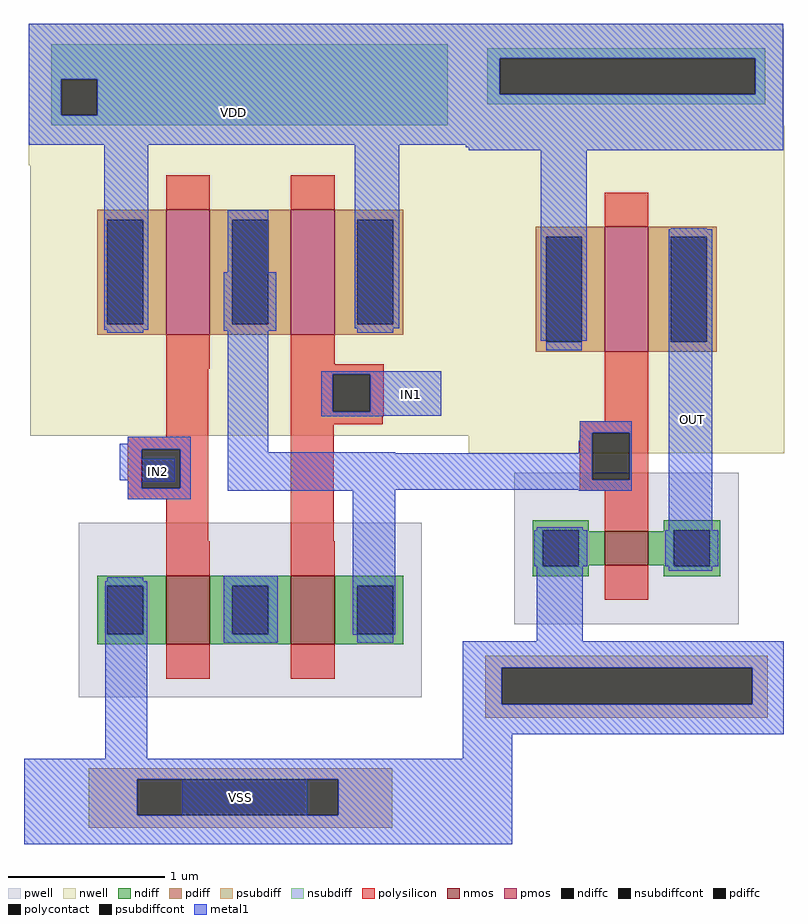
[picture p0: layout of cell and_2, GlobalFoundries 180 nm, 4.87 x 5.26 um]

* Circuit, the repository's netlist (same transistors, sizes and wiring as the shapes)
** sch_path: /home/shahid/GF180Projects/Divider/Xschem/and_2.sch
**.subckt and_2 IN2 IN1 VSS VDD OUT
*.ipin IN2
*.ipin IN1
*.iopin VSS
*.iopin VDD
*.opin OUT
XM7 OUT net1 VDD VDD pfet_03v3 L=0.28u W=0.8u nf=1 ad='int((nf+1)/2) * W/nf * 0.18u' as='int((nf+2)/2) * W/nf * 0.18u'
+ pd='2*int((nf+1)/2) * (W/nf + 0.18u)' ps='2*int((nf+2)/2) * (W/nf + 0.18u)' nrd='0.18u / W' nrs='0.18u / W'
+ sa=0 sb=0 sd=0 m=1
XM6 OUT net1 VSS VSS nfet_03v3 L=0.28u W=0.22u nf=1 ad='int((nf+1)/2) * W/nf * 0.18u' as='int((nf+2)/2) * W/nf * 0.18u'
+ pd='2*int((nf+1)/2) * (W/nf + 0.18u)' ps='2*int((nf+2)/2) * (W/nf + 0.18u)' nrd='0.18u / W' nrs='0.18u / W'
+ sa=0 sb=0 sd=0 m=1
XM1 net1 IN2 VDD VDD pfet_03v3 L=0.28u W=0.8u nf=1 ad='int((nf+1)/2) * W/nf * 0.18u' as='int((nf+2)/2) * W/nf * 0.18u'
+ pd='2*int((nf+1)/2) * (W/nf + 0.18u)' ps='2*int((nf+2)/2) * (W/nf + 0.18u)' nrd='0.18u / W' nrs='0.18u / W'
+ sa=0 sb=0 sd=0 m=1
XM2 net1 IN1 VDD VDD pfet_03v3 L=0.28u W=0.8u nf=1 ad='int((nf+1)/2) * W/nf * 0.18u' as='int((nf+2)/2) * W/nf * 0.18u'
+ pd='2*int((nf+1)/2) * (W/nf + 0.18u)' ps='2*int((nf+2)/2) * (W/nf + 0.18u)' nrd='0.18u / W' nrs='0.18u / W'
+ sa=0 sb=0 sd=0 m=1
XM3 net1 IN1 net2 VSS nfet_03v3 L=0.28u W=0.22u nf=1 ad='int((nf+1)/2) * W/nf * 0.18u' as='int((nf+2)/2) * W/nf * 0.18u'
+ pd='2*int((nf+1)/2) * (W/nf + 0.18u)' ps='2*int((nf+2)/2) * (W/nf + 0.18u)' nrd='0.18u / W' nrs='0.18u / W'
+ sa=0 sb=0 sd=0 m=2
XM4 net2 IN2 VSS VSS nfet_03v3 L=0.28u W=0.22u nf=1 ad='int((nf+1)/2) * W/nf * 0.18u' as='int((nf+2)/2) * W/nf * 0.18u'
+ pd='2*int((nf+1)/2) * (W/nf + 0.18u)' ps='2*int((nf+2)/2) * (W/nf + 0.18u)' nrd='0.18u / W' nrs='0.18u / W'
+ sa=0 sb=0 sd=0 m=2
**.ends
.end

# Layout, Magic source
magic
tech gf180mcuC
magscale 1 10
<< nwell >>
rect 823 1889 833 2007
<< metal1 >>
rect 430 1910 630 1970
rect 823 1889 833 2007
rect 730 1560 780 1590
rect 1090 1500 1130 1580
rect 400 1460 450 1490
rect 727 1450 984 1497
rect 819 1159 828 1256
rect 460 1020 620 1080
rect 819 996 883 1159
use nand2  nand2_0
transform 1 0 327 0 1 1184
box -70 -188 502 863
use nverterlayout  nverterlayout_0
transform 1 0 915 0 1 917
box -88 220 316 1130
<< labels >>
flabel metal1 535 1056 535 1056 0 FreeSans 480 0 0 0 VSS
port 0 nsew
flabel metal1 525 1933 525 1933 0 FreeSans 480 0 0 0 VDD
port 1 nsew
flabel metal1 429 1474 429 1474 0 FreeSans 480 0 0 0 IN2
port 2 nsew
flabel metal1 1114 1540 1114 1540 0 FreeSans 480 0 0 0 OUT
port 4 nsew
flabel metal1 753 1572 753 1572 0 FreeSans 480 0 0 0 IN1
port 5 nsew
<< end >>

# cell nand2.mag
magic
tech gf180mcuC
magscale 1 10
<< nwell >>
rect -64 708 500 863
rect -64 682 32 708
rect 33 682 500 708
rect 191 384 243 624
<< psubdiff >>
rect 13 -105 402 -91
rect 13 -151 75 -105
rect 333 -151 402 -105
rect 13 -167 402 -151
<< nsubdiff >>
rect -35 792 473 837
rect -35 746 -22 792
rect 24 746 473 792
rect -35 733 473 746
<< psubdiffcont >>
rect 75 -151 333 -105
<< nsubdiffcont >>
rect -22 746 24 792
<< polysilicon >>
rect 311 421 391 427
rect 112 334 166 421
rect 63 318 166 334
rect 63 268 81 318
rect 130 268 166 318
rect 63 254 166 268
rect 112 200 166 254
rect 272 414 391 421
rect 272 366 326 414
rect 374 366 391 414
rect 272 360 391 366
rect 272 350 390 360
rect 272 200 327 350
<< polycontact >>
rect 81 268 130 318
rect 326 366 374 414
<< metal1 >>
rect -64 817 500 863
rect -64 792 499 817
rect -64 746 -22 792
rect 24 746 499 792
rect -64 708 499 746
rect 33 471 89 708
rect 191 545 243 624
rect 186 470 253 545
rect 354 473 411 708
rect 63 325 144 334
rect 53 318 144 325
rect 53 278 81 318
rect 63 268 81 278
rect 130 268 144 318
rect 63 254 144 268
rect 191 314 243 470
rect 311 414 465 418
rect 311 366 326 414
rect 374 366 465 414
rect 311 361 465 366
rect 311 360 391 361
rect 191 265 406 314
rect 34 -79 88 149
rect 186 70 255 156
rect 351 80 406 265
rect -70 -105 493 -79
rect -70 -151 75 -105
rect 333 -151 493 -105
rect -70 -188 493 -151
use nmos_3p3_5QNVWA  nmos_3p3_5QNVWA_0
transform 1 0 140 0 1 112
box -140 -112 140 112
use nmos_3p3_5QNVWA  nmos_3p3_5QNVWA_1
transform 1 0 300 0 1 112
box -140 -112 140 112
use pmos_3p3_M8SWPS  pmos_3p3_M8SWPS_0
transform 1 0 300 0 1 545
box -202 -210 202 210
use pmos_3p3_M8SWPS  pmos_3p3_M8SWPS_1
transform 1 0 140 0 1 545
box -202 -210 202 210
<< labels >>
flabel polycontact 101 293 101 293 0 FreeSans 480 0 0 0 IN2
port 1 nsew
flabel metal1 425 394 425 394 0 FreeSans 480 0 0 0 IN1
port 2 nsew
flabel metal1 374 282 374 282 0 FreeSans 480 0 0 0 OUT
port 3 nsew
flabel psubdiffcont 204 -128 204 -128 0 FreeSans 480 0 0 0 VSS
port 4 nsew
flabel nsubdiffcont 425 785 425 785 0 FreeSans 640 0 0 0 VDD
port 5 nsew
<< end >>

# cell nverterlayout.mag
magic
tech gf180mcuC
magscale 1 10
<< nwell >>
rect -88 1124 315 1130
rect -88 1000 316 1124
rect -88 968 315 1000
rect 4 724 63 960
rect 64 612 121 621
<< pwell >>
rect 64 534 121 540
rect 54 532 121 534
<< psubdiff >>
rect -67 305 295 320
rect -67 258 -46 305
rect 275 258 295 305
rect -67 241 295 258
<< nsubdiff >>
rect -64 1086 292 1099
rect -64 1040 -48 1086
rect 279 1040 292 1086
rect -64 1027 292 1040
<< psubdiffcont >>
rect -46 258 275 305
<< nsubdiffcont >>
rect -48 1040 279 1086
<< polysilicon >>
rect 86 621 142 672
rect 54 606 142 621
rect 54 546 70 606
rect 118 546 142 606
rect 54 532 142 546
rect 86 524 142 532
<< polycontact >>
rect 70 546 118 606
<< metal1 >>
rect -88 1086 315 1130
rect -88 1040 -48 1086
rect 279 1040 315 1086
rect -88 968 315 1040
rect 4 724 63 968
rect 54 606 121 621
rect 54 596 70 606
rect 53 546 70 596
rect 118 546 121 606
rect 53 532 121 546
rect -1 339 58 485
rect 168 429 224 867
rect -88 305 316 339
rect -88 258 -46 305
rect 275 258 316 305
rect -88 220 316 258
use nmos_3p3_DDNVWA  nmos_3p3_DDNVWA_0
transform 1 0 114 0 1 458
box -144 -97 144 97
use pmos_3p3_MQGBLR  pmos_3p3_MQGBLR_0
transform 1 0 114 0 1 790
box -202 -210 202 210
<< labels >>
flabel nsubdiffcont 116 1065 116 1065 0 FreeSans 480 0 0 0 VDD
port 0 nsew
flabel psubdiffcont 113 283 113 283 0 FreeSans 480 0 0 0 VSS
port 1 nsew
flabel metal1 194 631 194 631 0 FreeSans 480 0 0 0 OUT
port 2 nsew
flabel polycontact 92 575 92 575 0 FreeSans 480 0 0 0 IN
port 3 nsew
<< end >>

# cell nmos_3p3_DDNVWA: kit device nmos_3p3, w 0.220 l 0.280 m 1 nf 1 diffcov 100 polycov 100 guard 0 glc 0 grc 0 gtc 0 gbc 0 tbcov 100 rlcov 100 topc 0 botc 0 poverlap 0 doverlap 1 lmin 0.28 wmin 0.22 full_metal 0 compatible {nmos_3p3 nmos_6p0 nmos_6p0_nat}

# cell pmos_3p3_MQGBLR: kit device pmos_3p3, w 0.8 l 0.280 m 1 nf 1 diffcov 100 polycov 100 guard 0 glc 0 grc 0 gtc 0 gbc 0 tbcov 100 rlcov 100 topc 0 botc 0 poverlap 0 doverlap 1 lmin 0.28 wmin 0.22 full_metal 0 compatible {pmos_3p3 pmos_6p0}

# cell nmos_3p3_5QNVWA: kit device nmos_3p3, w 0.440 l 0.280 m 1 nf 1 diffcov 100 polycov 100 guard 0 glc 0 grc 0 gtc 0 gbc 0 tbcov 100 rlcov 100 topc 0 botc 0 poverlap 0 doverlap 1 lmin 0.28 wmin 0.22 full_metal 0 compatible {nmos_3p3 nmos_6p0 nmos_6p0_nat}

# cell pmos_3p3_M8SWPS: kit device pmos_3p3, w 0.80 l 0.280 m 1 nf 1 diffcov 100 polycov 100 guard 0 glc 0 grc 0 gtc 0 gbc 0 tbcov 100 rlcov 100 topc 0 botc 0 poverlap 0 doverlap 1 lmin 0.28 wmin 0.22 full_metal 0 compatible {pmos_3p3 pmos_6p0}
